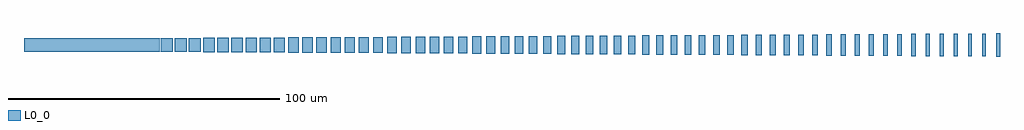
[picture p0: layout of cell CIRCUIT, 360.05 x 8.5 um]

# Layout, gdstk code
import gdstk
lib = gdstk.Library(unit=1e-6, precision=1e-09)
def R(c, l, rs):  # rectangles x0, y0, x1, y1
    for r in rs: c.add(gdstk.rectangle(r[:2], r[2:], *l))
L0_0 = (0, 0)

circuit = lib.new_cell('CIRCUIT')
R(circuit, L0_0, [(358.75,195.75,360.05,204.25), (353.524,195.78,354.876,204.22), (348.297,195.809,349.703,204.191), (343.071,195.839,344.529,204.161), (337.844,195.869,339.356,204.131), (332.618,195.898,334.182,204.102), (327.391,195.928,329.009,204.072), (322.165,195.958,323.835,204.042), (316.938,195.987,318.662,204.013), (311.712,196.017,313.488,203.983), (306.486,196.047,308.314,203.953), (301.259,196.076,303.141,203.924), (296.033,196.106,297.967,203.894), (290.806,196.136,292.794,203.864), (285.58,196.165,287.62,203.835), (280.353,196.195,282.447,203.805), (275.127,196.225,277.273,203.775), (269.901,196.254,272.099,203.746), (264.674,196.284,266.926,203.716), (259.448,196.314,261.752,203.686), (254.221,196.343,256.579,203.657), (248.995,196.373,251.405,203.627), (243.768,196.403,246.232,203.597), (238.542,196.432,241.058,203.568), (233.315,196.462,235.885,203.538), (228.089,196.492,230.711,203.508), (222.863,196.521,225.537,203.479), (217.636,196.551,220.364,203.449), (212.41,196.581,215.19,203.419), (207.183,196.61,210.017,203.39), (201.957,196.64,204.843,203.36), (196.73,196.669,199.67,203.331), (191.504,196.699,194.496,203.301), (186.277,196.729,189.323,203.271), (181.051,196.758,184.149,203.242), (175.825,196.788,178.975,203.212), (170.598,196.818,173.802,203.182), (165.372,196.847,168.628,203.153), (160.145,196.877,163.455,203.123), (154.919,196.907,158.281,203.093), (149.692,196.936,153.108,203.064), (144.466,196.966,147.934,203.034), (139.239,196.996,142.761,203.004), (134.013,197.025,137.587,202.975), (128.787,197.055,132.413,202.945), (123.56,197.085,127.24,202.915), (118.334,197.114,122.066,202.886), (113.107,197.144,116.893,202.856), (107.881,197.174,111.719,202.826), (102.654,197.203,106.546,202.797), (97.428,197.233,101.372,202.767), (92.202,197.263,96.198,202.737), (86.975,197.292,91.025,202.708), (81.749,197.322,85.851,202.678), (76.522,197.352,80.678,202.648), (71.296,197.381,75.504,202.619), (66.069,197.411,70.331,202.589), (60.843,197.441,65.157,202.559), (55.616,197.47,59.984,202.53), (0,197.5,50,202.5), (50.39,197.5,54.81,202.5)])

lib.write_gds('CIRCUIT.gds')
